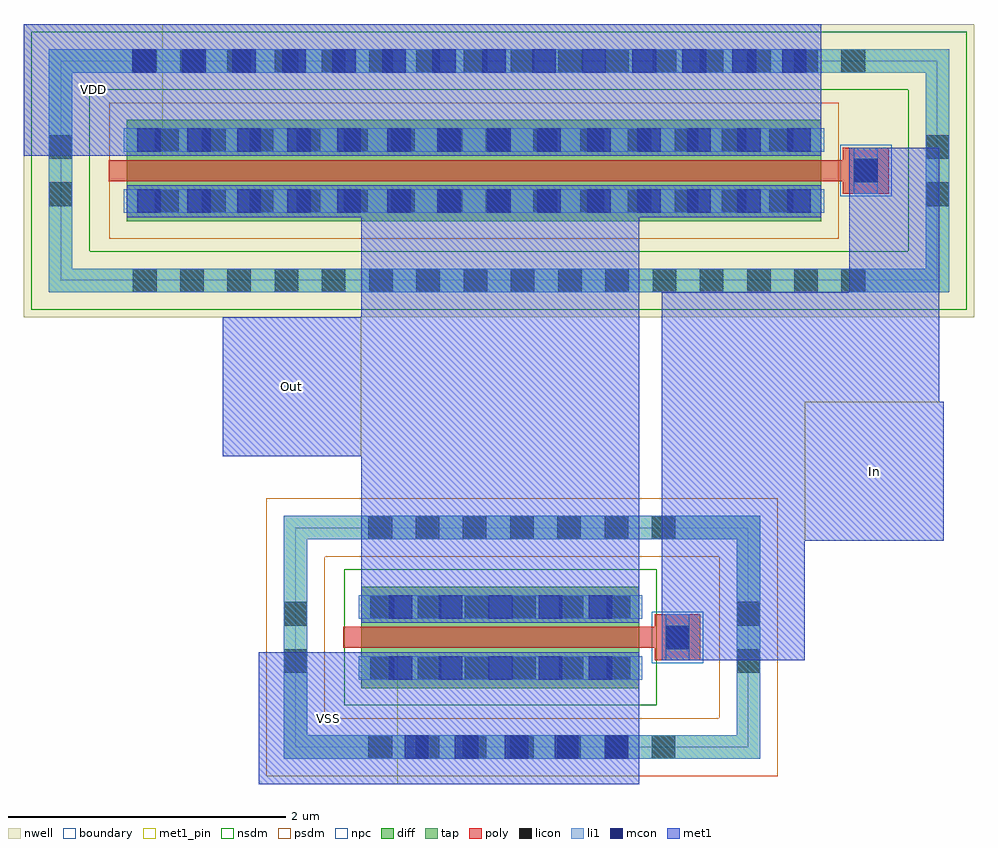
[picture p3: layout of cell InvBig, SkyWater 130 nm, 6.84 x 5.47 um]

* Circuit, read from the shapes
.subckt InvBig In Out VDD VSS
XM1 Out In VSS VSS sky130_fd_pr__nfet_01v8 w=2 l=0.15
XM2 VDD In Out VDD sky130_fd_pr__pfet_01v8 w=5 l=0.15
.ends

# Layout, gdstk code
from math import pi, radians
import gdstk
lib = gdstk.Library(unit=1e-6, precision=1e-09)
def R(c, l, rs):  # rectangles x0, y0, x1, y1
    for r in rs: c.add(gdstk.rectangle(r[:2], r[2:], *l))
def A(c, l, x, y, w, h, nx, ny, dx, dy):  # array of equal rectangles
    R(c, l, [(x+i*dx, y+j*dy, x+i*dx+w, y+j*dy+h) for i in range(nx) for j in range(ny)])
nwell = (64, 20)
diff = (65, 20)
tap = (65, 44)
poly = (66, 20)
licon = (66, 44)
li1 = (67, 20)
mcon = (67, 44)
met1_pin = (68, 16)
met1 = (68, 20)
nsdm = (93, 44)
psdm = (94, 20)
npc = (95, 20)
boundary = (235, 4)

sky130_fd_pr__nfet_01v8_ = lib.new_cell('sky130_fd_pr__nfet_01v8_K8KUUE')
R(sky130_fd_pr__nfet_01v8_, diff, [(-0.365,-1.155,0.365,0.845)])
R(sky130_fd_pr__nfet_01v8_, tap, [(-0.875,-1.715,0.875,-1.545), (-0.875,-1.545,-0.705,1.545), (0.705,-1.545,0.875,1.545), (-0.875,1.545,0.875,1.715)])
R(sky130_fd_pr__nfet_01v8_, poly, [(-0.075,-1.285,0.075,0.955), (-0.165,0.955,0.165,1.285)])
A(sky130_fd_pr__nfet_01v8_, licon, -0.875, -1.105, 0.17, 0.17, 1, 7, 0, 0.34)
A(sky130_fd_pr__nfet_01v8_, licon, 0.705, -1.105, 0.17, 0.17, 1, 7, 0, 0.34)
A(sky130_fd_pr__nfet_01v8_, licon, -0.305, -1.09, 0.17, 0.17, 1, 6, 0, 0.34)
A(sky130_fd_pr__nfet_01v8_, licon, 0.135, -1.09, 0.17, 0.17, 1, 6, 0, 0.34)
R(sky130_fd_pr__nfet_01v8_, licon, [(-0.255,-1.715,-0.085,-1.545), (0.085,-1.715,0.255,-1.545), (-0.085,1.035,0.085,1.205), (-0.255,1.545,-0.085,1.715), (0.085,1.545,0.255,1.715)])
R(sky130_fd_pr__nfet_01v8_, li1, [(-0.875,-1.715,0.875,-1.545), (-0.875,-1.545,-0.705,1.545), (0.705,-1.545,0.875,1.545), (-0.305,-1.175,-0.135,0.865), (0.135,-1.175,0.305,0.865), (-0.165,1.035,0.165,1.205), (-0.875,1.545,0.875,1.715)])
A(sky130_fd_pr__nfet_01v8_, mcon, -0.305, -0.96, 0.17, 0.17, 1, 5, 0, 0.36)
A(sky130_fd_pr__nfet_01v8_, mcon, 0.135, -0.96, 0.17, 0.17, 1, 5, 0, 0.36)
R(sky130_fd_pr__nfet_01v8_, mcon, [(-0.085,1.035,0.085,1.205)])
R(sky130_fd_pr__nfet_01v8_, met1, [(-0.335,-1.155,-0.105,0.845), (0.105,-1.155,0.335,0.845), (-0.145,1.005,0.145,1.235)])
R(sky130_fd_pr__nfet_01v8_, nsdm, [(-0.49,-1.28,0.49,0.97)])
R(sky130_fd_pr__nfet_01v8_, psdm, [(-1,-1.84,1,-1.42), (-1,-1.42,-0.58,1.42), (0.58,-1.42,1,1.42), (-1,1.42,1,1.84)])
R(sky130_fd_pr__nfet_01v8_, npc, [(-0.185,0.935,0.185,1.305)])
R(sky130_fd_pr__nfet_01v8_, boundary, [(-0.79,-1.63,0.79,1.63)])

sky130_fd_pr__pfet_01v8_ = lib.new_cell('sky130_fd_pr__pfet_01v8_KU9U2K')
R(sky130_fd_pr__pfet_01v8_, nwell, [(-1.055,-3.42,1.055,3.42)])
R(sky130_fd_pr__pfet_01v8_, diff, [(-0.365,-2.68,0.365,2.32)])
R(sky130_fd_pr__pfet_01v8_, tap, [(-0.875,-3.24,0.875,-3.07), (-0.875,-3.07,-0.705,3.07), (0.705,-3.07,0.875,3.07), (-0.875,3.07,0.875,3.24)])
R(sky130_fd_pr__pfet_01v8_, poly, [(-0.075,-2.81,0.075,2.475), (-0.165,2.475,0.165,2.805)])
A(sky130_fd_pr__pfet_01v8_, licon, -0.875, -2.635, 0.17, 0.17, 1, 16, 0, 0.34)
A(sky130_fd_pr__pfet_01v8_, licon, 0.705, -2.635, 0.17, 0.17, 1, 16, 0, 0.34)
A(sky130_fd_pr__pfet_01v8_, licon, -0.305, -2.475, 0.17, 0.17, 1, 14, 0, 0.34)
A(sky130_fd_pr__pfet_01v8_, licon, 0.135, -2.475, 0.17, 0.17, 1, 14, 0, 0.34)
R(sky130_fd_pr__pfet_01v8_, licon, [(-0.255,-3.24,-0.085,-3.07), (0.085,-3.24,0.255,-3.07), (-0.085,2.555,0.085,2.725), (-0.255,3.07,-0.085,3.24), (0.085,3.07,0.255,3.24)])
R(sky130_fd_pr__pfet_01v8_, li1, [(-0.875,-3.24,0.875,-3.07), (-0.875,-3.07,-0.705,3.07), (0.705,-3.07,0.875,3.07), (-0.305,-2.7,-0.135,2.34), (0.135,-2.7,0.305,2.34), (-0.165,2.555,0.165,2.725), (-0.875,3.07,0.875,3.24)])
A(sky130_fd_pr__pfet_01v8_, mcon, -0.305, -2.605, 0.17, 0.17, 1, 14, 0, 0.36)
A(sky130_fd_pr__pfet_01v8_, mcon, 0.135, -2.605, 0.17, 0.17, 1, 14, 0, 0.36)
R(sky130_fd_pr__pfet_01v8_, mcon, [(-0.085,2.555,0.085,2.725)])
R(sky130_fd_pr__pfet_01v8_, met1, [(-0.335,-2.68,-0.105,2.32), (0.105,-2.68,0.335,2.32), (-0.145,2.525,0.145,2.755)])
R(sky130_fd_pr__pfet_01v8_, nsdm, [(-1,-3.365,1,-2.945), (-1,-2.945,-0.58,2.945), (0.58,-2.945,1,2.945), (-1,2.945,1,3.365)])
R(sky130_fd_pr__pfet_01v8_, psdm, [(-0.49,-2.805,0.49,2.445)])
R(sky130_fd_pr__pfet_01v8_, npc, [(-0.185,2.455,0.185,2.825)])
R(sky130_fd_pr__pfet_01v8_, boundary, [(-0.79,-3.155,0.79,3.155)])

invbig = lib.new_cell('InvBig')
R(invbig, li1, [(4.93,-3.68,6.87,-3.51), (3.17,1.26,8.18,1.43)])
A(invbig, mcon, 5.21, -3.68, 0.17, 0.17, 5, 1, 0.36, 0)
A(invbig, mcon, 3.25, 1.26, 0.17, 0.17, 14, 1, 0.36, 0)
R(invbig, met1_pin, [(4.16,-3.86,5.16,-2.91), (8.09,-2.11,9.09,-1.11), (3.9,-1.5,4.9,-0.5), (2.47,0.66,3.47,1.61)])
R(invbig, met1, [(4.16,-3.86,6.9,-2.91), (7.06,-2.97,8.09,-2.11), (4.9,-2.7,6.9,-1.5), (7.06,-2.11,9.09,-1.11), (3.9,-1.5,6.9,-0.5), (7.06,-1.11,9.06,-0.32), (4.9,-0.5,6.9,0.45), (8.41,-0.32,9.06,0.72), (2.47,0.66,8.21,1.61)])
invbig.add(gdstk.Reference(sky130_fd_pr__nfet_01v8_, (6.055,-2.805), rotation=pi/2, x_reflection=True))
invbig.add(gdstk.Reference(sky130_fd_pr__pfet_01v8_, (5.89,0.555), rotation=pi/2, x_reflection=True))
invbig.add(gdstk.Label('VSS', (4.66,-3.385), layer=68, texttype=5))
invbig.add(gdstk.Label('Out', (4.4,-1), layer=68, texttype=5))
invbig.add(gdstk.Label('In', (8.59,-1.61), layer=68, texttype=5))
invbig.add(gdstk.Label('VDD', (2.97,1.135), layer=68, texttype=5))

lib.write_gds('InvBig.gds')
